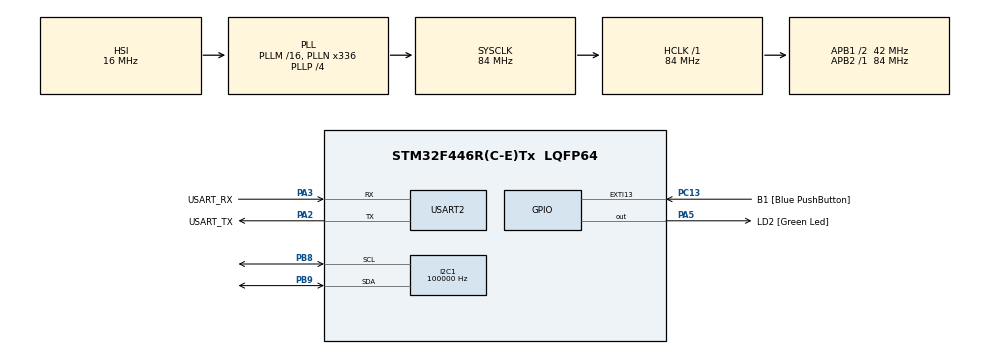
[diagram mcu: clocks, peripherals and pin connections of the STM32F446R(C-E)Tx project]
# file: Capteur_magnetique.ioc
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I2C1.ClockSpeed=100000
Mcu.Family=STM32F4
Mcu.Name=STM32F446R(C-E)Tx
Mcu.Package=LQFP64
NVIC.PriorityGroup=NVIC_PRIORITYGROUP_0
PA13.GPIO_Label=TMS
PA13.Mode=Serial_Wire
PA13.Signal=SYS_JTMS-SWDIO
PA14.GPIO_Label=TCK
PA14.Mode=Serial_Wire
PA14.Signal=SYS_JTCK-SWCLK
PA2.GPIO_Label=USART_TX
PA2.Mode=Asynchronous
PA2.Signal=USART2_TX
PA3.GPIO_Label=USART_RX
PA3.Mode=Asynchronous
PA3.Signal=USART2_RX
PA5.GPIO_Label=LD2 [Green Led]
PA5.Signal=GPIO_Output
PB3.GPIO_Label=SWO
PB3.Signal=SYS_JTDO-SWO
PB8.Mode=I2C
PB8.Signal=I2C1_SCL
PB9.Mode=I2C
PB9.Signal=I2C1_SDA
PC13.GPIO_Label=B1 [Blue PushButton]
PC13.GPIO_ModeDefaultEXTI=GPIO_MODE_IT_FALLING
PC13.Signal=GPXTI13
PC14-OSC32_IN.Mode=LSE-External-Oscillator
PC14-OSC32_IN.Signal=RCC_OSC32_IN
PC15-OSC32_OUT.Mode=LSE-External-Oscillator
PC15-OSC32_OUT.Signal=RCC_OSC32_OUT
PH0-OSC_IN.Mode=HSE-External-Oscillator
PH0-OSC_IN.Signal=RCC_OSC_IN
PH1-OSC_OUT.Mode=HSE-External-Oscillator
PH1-OSC_OUT.Signal=RCC_OSC_OUT
ProjectManager.HeapSize=0x200
ProjectManager.StackSize=0x400
ProjectManager.TargetToolchain=STM32CubeIDE
RCC.48MHZClocksFreq_Value=84000000
RCC.AHBFreq_Value=84000000
RCC.APB1CLKDivider=RCC_HCLK_DIV2
RCC.APB1Freq_Value=42000000
RCC.APB1TimFreq_Value=84000000
RCC.APB2Freq_Value=84000000
RCC.APB2TimFreq_Value=84000000
RCC.CortexFreq_Value=84000000
RCC.FLatency-AdvancedSettings=FLASH_LATENCY_2
RCC.HCLKFreq_Value=84000000
RCC.HSE_VALUE=8000000
RCC.HSI_VALUE=16000000
RCC.PLLN=336
RCC.PLLP=RCC_PLLP_DIV4
RCC.SYSCLKFreq_VALUE=84000000
RCC.SYSCLKSource=RCC_SYSCLKSOURCE_PLLCLK
RCC.USBFreq_Value=168000000
RCC.VCOOutputFreq_Value=336000000
USART2.VirtualMode=VM_ASYNC
board=NUCLEO-F446RE

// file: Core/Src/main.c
/* USER CODE BEGIN Header */
/**
  ******************************************************************************
  * @file           : main.c
  * @brief          : Main program body
  ******************************************************************************
  * @attention
  *
  * Copyright (c) 2023 STMicroelectronics.
  * All rights reserved.
  *
  * This software is licensed under terms that can be found in the LICENSE file
  * in the root directory of this software component.
  * If no LICENSE file comes with this software, it is provided AS-IS.
  *
  ******************************************************************************
  */
/* USER CODE END Header */
#include "main.h"
#include <stdio.h>

I2C_HandleTypeDef hi2c1;

UART_HandleTypeDef huart2;

void SystemClock_Config(void);
static void MX_GPIO_Init(void);
static void MX_USART2_UART_Init(void);
static void MX_I2C1_Init(void);

/* USER CODE BEGIN 0 */
 uint8_t A5600_ADDRESS = 0x36 << 1;
/* USER CODE END 0 */

int main(void)
{

  /* MCU Configuration--------------------------------------------------------*/

  /* Reset of all peripherals, Initializes the Flash interface and the Systick. */
  HAL_Init();

  /* Configure the system clock */
  SystemClock_Config();

  /* Initialize all configured peripherals */
  MX_GPIO_Init();
  MX_USART2_UART_Init();
  MX_I2C1_Init();
  /* USER CODE BEGIN 2 */
  uint8_t data[2];

  /* USER CODE END 2 */

  /* Infinite loop */
  /* USER CODE BEGIN WHILE */
  while (1)
  {

  uint8_t regAddress = 0x0E; // Adresse du registre pour la position du capteur
  HAL_I2C_Mem_Read(&hi2c1, A5600_ADDRESS, regAddress, I2C_MEMADD_SIZE_8BIT, data, 2, 100);

  uint16_t position = (data[0] << 8) | data[1]; // La position est sur 12 bits, contenue dans les 2 octets lus

  uint8_t status = 0;
  HAL_I2C_Mem_Read(&hi2c1, A5600_ADDRESS, 0x0B, I2C_MEMADD_SIZE_8BIT, &status, 1, 100);

    uint8_t mh = status & 0b00001000;
    uint8_t ml = status & 0b00010000;
    uint8_t md = status & 0b00100000;

    char* magnet_state = "Normal";
    if (mh != 0){
      magnet_state = "Fort";}
    else if (ml != 0){
      magnet_state = "Faible";}

  char msg[128];
  int len = snprintf(msg, sizeof(msg), "Position: %u, Etat du champ magnetique: %s\r\n", position, magnet_state);
  HAL_UART_Transmit(&huart2, (uint8_t *)msg, len, 100);
  HAL_Delay(500); // Ajoutez un délai pour éviter une lecture et une transmission trop rapides

    /* USER CODE END WHILE */

  }
}

void SystemClock_Config(void)
{
  RCC_OscInitTypeDef RCC_OscInitStruct = {0};
  RCC_ClkInitTypeDef RCC_ClkInitStruct = {0};

  /** Configure the main internal regulator output voltage
  */
  __HAL_RCC_PWR_CLK_ENABLE();
  __HAL_PWR_VOLTAGESCALING_CONFIG(PWR_REGULATOR_VOLTAGE_SCALE3);

  /** Initializes the RCC Oscillators according to the specified parameters
  * in the RCC_OscInitTypeDef structure.
  */
  RCC_OscInitStruct.OscillatorType = RCC_OSCILLATORTYPE_HSI;
  RCC_OscInitStruct.HSIState = RCC_HSI_ON;
  RCC_OscInitStruct.HSICalibrationValue = RCC_HSICALIBRATION_DEFAULT;
  RCC_OscInitStruct.PLL.PLLState = RCC_PLL_ON;
  RCC_OscInitStruct.PLL.PLLSource = RCC_PLLSOURCE_HSI;
  RCC_OscInitStruct.PLL.PLLM = 16;
  RCC_OscInitStruct.PLL.PLLN = 336;
  RCC_OscInitStruct.PLL.PLLP = RCC_PLLP_DIV4;
  RCC_OscInitStruct.PLL.PLLQ = 2;
  RCC_OscInitStruct.PLL.PLLR = 2;
  if (HAL_RCC_OscConfig(&RCC_OscInitStruct) != HAL_OK)
  {
    Error_Handler();
  }

  /** Initializes the CPU, AHB and APB buses clocks
  */
  RCC_ClkInitStruct.ClockType = RCC_CLOCKTYPE_HCLK|RCC_CLOCKTYPE_SYSCLK
                              |RCC_CLOCKTYPE_PCLK1|RCC_CLOCKTYPE_PCLK2;
  RCC_ClkInitStruct.SYSCLKSource = RCC_SYSCLKSOURCE_PLLCLK;
  RCC_ClkInitStruct.AHBCLKDivider = RCC_SYSCLK_DIV1;
  RCC_ClkInitStruct.APB1CLKDivider = RCC_HCLK_DIV2;
  RCC_ClkInitStruct.APB2CLKDivider = RCC_HCLK_DIV1;

  if (HAL_RCC_ClockConfig(&RCC_ClkInitStruct, FLASH_LATENCY_2) != HAL_OK)
  {
    Error_Handler();
  }
}

static void MX_I2C1_Init(void)
{

  hi2c1.Instance = I2C1;
  hi2c1.Init.ClockSpeed = 100000;
  hi2c1.Init.DutyCycle = I2C_DUTYCYCLE_2;
  hi2c1.Init.OwnAddress1 = 0;
  hi2c1.Init.AddressingMode = I2C_ADDRESSINGMODE_7BIT;
  hi2c1.Init.DualAddressMode = I2C_DUALADDRESS_DISABLE;
  hi2c1.Init.OwnAddress2 = 0;
  hi2c1.Init.GeneralCallMode = I2C_GENERALCALL_DISABLE;
  hi2c1.Init.NoStretchMode = I2C_NOSTRETCH_DISABLE;
  if (HAL_I2C_Init(&hi2c1) != HAL_OK)
  {
    Error_Handler();
  }

}

static void MX_USART2_UART_Init(void)
{

  huart2.Instance = USART2;
  huart2.Init.BaudRate = 115200;
  huart2.Init.WordLength = UART_WORDLENGTH_8B;
  huart2.Init.StopBits = UART_STOPBITS_1;
  huart2.Init.Parity = UART_PARITY_NONE;
  huart2.Init.Mode = UART_MODE_TX_RX;
  huart2.Init.HwFlowCtl = UART_HWCONTROL_NONE;
  huart2.Init.OverSampling = UART_OVERSAMPLING_16;
  if (HAL_UART_Init(&huart2) != HAL_OK)
  {
    Error_Handler();
  }

}

static void MX_GPIO_Init(void)
{
  GPIO_InitTypeDef GPIO_InitStruct = {0};

  /* GPIO Ports Clock Enable */
  __HAL_RCC_GPIOC_CLK_ENABLE();
  __HAL_RCC_GPIOH_CLK_ENABLE();
  __HAL_RCC_GPIOA_CLK_ENABLE();
  __HAL_RCC_GPIOB_CLK_ENABLE();

  /*Configure GPIO pin Output Level */
  HAL_GPIO_WritePin(LD2_GPIO_Port, LD2_Pin, GPIO_PIN_RESET);

  /*Configure GPIO pin : B1_Pin */
  GPIO_InitStruct.Pin = B1_Pin;
  GPIO_InitStruct.Mode = GPIO_MODE_IT_FALLING;
  GPIO_InitStruct.Pull = GPIO_NOPULL;
  HAL_GPIO_Init(B1_GPIO_Port, &GPIO_InitStruct);

  /*Configure GPIO pin : LD2_Pin */
  GPIO_InitStruct.Pin = LD2_Pin;
  GPIO_InitStruct.Mode = GPIO_MODE_OUTPUT_PP;
  GPIO_InitStruct.Pull = GPIO_NOPULL;
  GPIO_InitStruct.Speed = GPIO_SPEED_FREQ_LOW;
  HAL_GPIO_Init(LD2_GPIO_Port, &GPIO_InitStruct);

}

void Error_Handler(void)
{
  __disable_irq();
  while (1)
  {
  }
}
